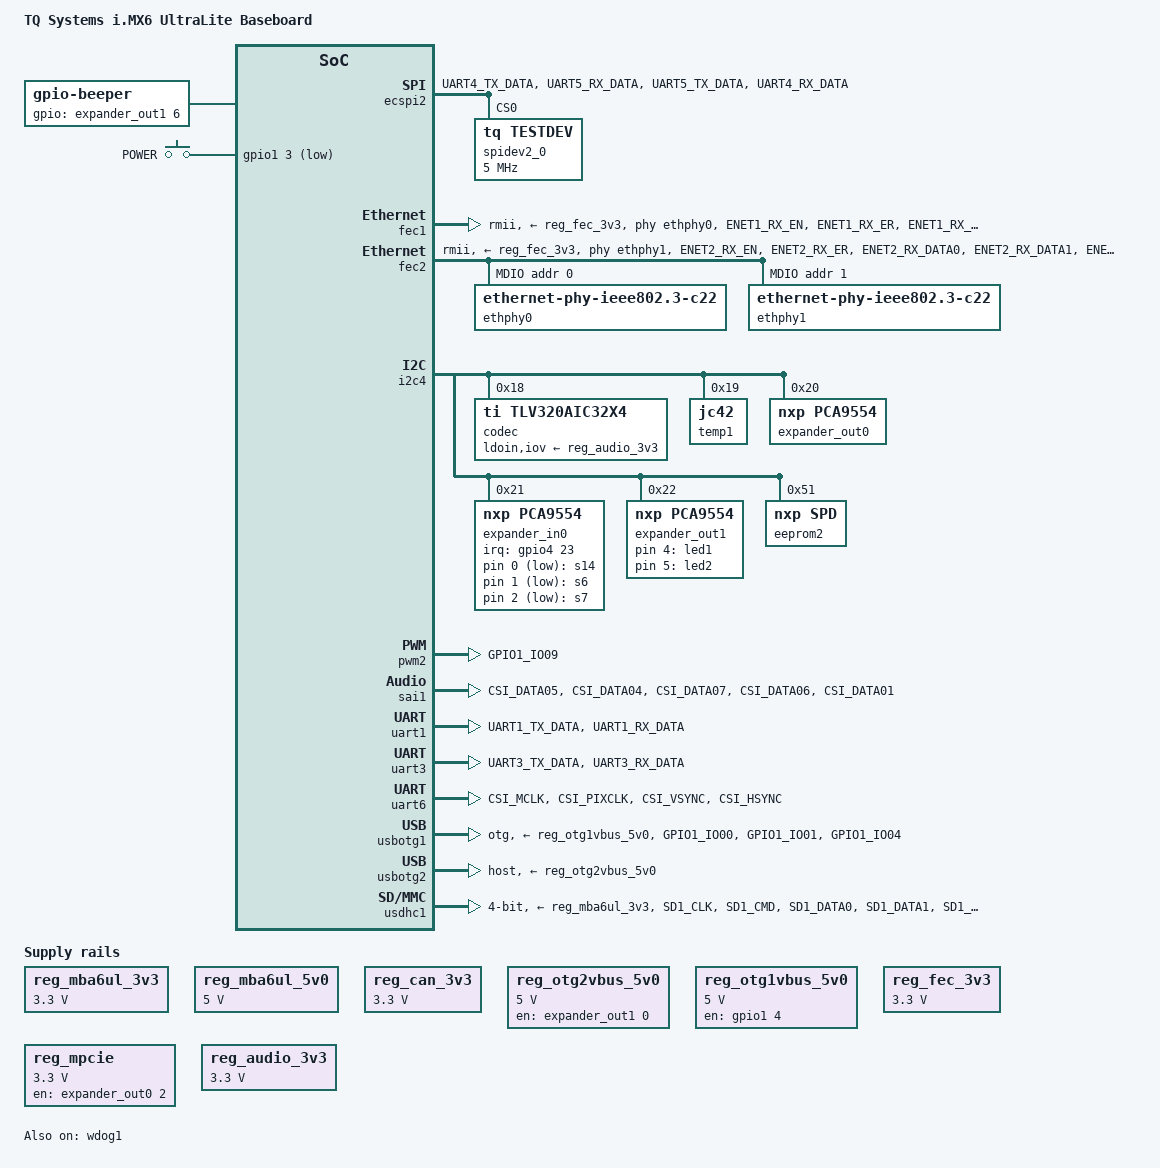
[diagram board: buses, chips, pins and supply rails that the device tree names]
/*
 * Copyright 2016 Marco Felsch, TQ Systems GmbH
 *
 * The code contained herein is licensed under the GNU General Public
 * License. You may obtain a copy of the GNU General Public License
 * Version 2 or later at the following locations:
 *
 * http://www.opensource.org/licenses/gpl-license.html
 * http://www.gnu.org/copyleft/gpl.html
 */

/ {
	model = "TQ Systems i.MX6 UltraLite Baseboard";

	aliases {
		mmc1 = &usdhc1;
		mmc0 = &usdhc2;
	};

	beeper: gpio_beeper {
		compatible = "gpio-beeper";
		gpios = <&expander_out1 6 GPIO_ACTIVE_HIGH>;
	};

	chosen {
		stdout-path = &uart1;
	};

	gpio_buttons: gpio_keys {
		compatible = "gpio-keys";
		#address-cells = <1>;
		#size-cells = <0>;
		pinctrl-names = "default";
		pinctrl-0 = <&pinctrl_buttons>;

		button@0 {
			label = "s14";
			linux,code = <KEY_1>;
			gpios = <&expander_in0 0 GPIO_ACTIVE_LOW>;
		};

		button@1 {
			label = "s6";
			linux,code = <KEY_2>;
			gpios = <&expander_in0 1 GPIO_ACTIVE_LOW>;
		};

		button@2 {
			label = "s7";
			linux,code = <KEY_3>;
			gpios = <&expander_in0 2 GPIO_ACTIVE_LOW>;
		};

		button@3 {
			label = "POWER";
			linux,code = <KEY_POWER>;
			gpios = <&gpio1 3 GPIO_ACTIVE_LOW>;
			gpio-key,wakeup;
		};
	};

	gpio-leds {
		compatible = "gpio-leds";
		status = "okay";

		led1 {
			label = "led1";
			gpios = <&expander_out1 4 GPIO_ACTIVE_HIGH>;
			linux,default-trigger = "default-on";
		};

		led2 {
			label = "led2";
			gpios = <&expander_out1 5 GPIO_ACTIVE_HIGH>;
			linux,default-trigger = "heartbeat";
		};
	};

	regulators {
		compatible = "simple-bus";
		#address-cells = <1>;
		#size-cells = <0>;

		reg_mba6ul_3v3: regulator@0 {
			compatible = "regulator-fixed";
			regulator-name = "supply-mba6ul-3v3";
			reg = <0>;
			regulator-min-microvolt = <3300000>;
			regulator-max-microvolt = <3300000>;
			regulator-always-on;
		};

		reg_mba6ul_5v0: regulator@1 {
			compatible = "regulator-fixed";
			regulator-name = "supply-mba6ul-5v0";
			reg = <1>;
			regulator-min-microvolt = <5000000>;
			regulator-max-microvolt = <5000000>;
			regulator-always-on;
		};

		reg_can_3v3: regulator@2 {
			compatible = "regulator-fixed";
			regulator-name = "can-3v3";
			reg = <2>;
			regulator-min-microvolt = <3300000>;
			regulator-max-microvolt = <3300000>;
			regulator-always-on;
			vin_supply = <&reg_mba6ul_3v3>;
		};

		reg_otg2vbus_5v0: regulator@3 {
			compatible = "regulator-fixed";
			reg = <3>;
			gpio = <&expander_out1 0 GPIO_ACTIVE_HIGH>;
			enable-active-high;
			regulator-name = "otg2-vbus-supply-5v0";
			regulator-min-microvolt = <5000000>;
			regulator-max-microvolt = <5000000>;
			vin_supply = <&reg_mba6ul_5v0>;
		};

		reg_otg1vbus_5v0: regulator@4 {
			compatible = "regulator-fixed";
			reg = <4>;
			gpio = <&gpio1 4 GPIO_ACTIVE_HIGH>;
			enable-active-high;
			regulator-name = "otg1-vbus-supply-5v0";
			regulator-min-microvolt = <5000000>;
			regulator-max-microvolt = <5000000>;
			vin_supply = <&reg_mba6ul_5v0>;
		};

		reg_fec_3v3: regulator@5 {
			compatible = "regulator-fixed";
			regulator-name = "fec-3v3";
			reg = <5>;
			regulator-min-microvolt = <3300000>;
			regulator-max-microvolt = <3300000>;
			regulator-always-on;
			vin_supply = <&reg_mba6ul_3v3>;
		};

		reg_lcd_pwr: regulator@6 {
			compatible = "regulator-fixed";
			regulator-name = "lcd-pwr";
			reg = <6>;
			gpio = <&expander_out0 1 GPIO_ACTIVE_HIGH>;
			enable-active-high;
			status = "disabled";
		};

		reg_lvds_transmitter: regulator@7 {
			compatible = "regulator-fixed";
			regulator-name = "lvds-power";
			reg = <7>;
			gpio = <&expander_out0 3 GPIO_ACTIVE_HIGH>;
			enable-active-high;
			regulator-always-on;
			vin_supply = <&reg_mba6ul_3v3>;
			status = "disabled";
		};

		reg_mpcie: regulator@8 {
			compatible = "regulator-fixed";
			regulator-name = "mpcie-3v3";
			reg = <8>;
			regulator-min-microvolt = <3300000>;
			regulator-max-microvolt = <3300000>;
			gpio = <&expander_out0 2 GPIO_ACTIVE_HIGH>;
			enable-active-high;
			regulator-always-on;
			vin_supply = <&reg_mba6ul_3v3>;
		};

		reg_audio_3v3: regulator@9 {
			compatible = "regulator-fixed";
			regulator-name = "VCC3V3_AUDIO";
			reg = <9>;
			regulator-min-microvolt = <3300000>;
			regulator-max-microvolt = <3300000>;
			regulator-always-on;
		};
	};

	reserved-memory {
		#address-cells = <1>;
		#size-cells = <1>;
		ranges;

		linux,cma {
			compatible = "shared-dma-pool";
			reusable;
			size = <0x6000000>;
			linux,cma-default;
		};
	};

	sound {
		compatible = "fsl,imx6ul-mba6ul-tlv320aic32x4",
			     "fsl,imx-audio-tlv320aic32x4";
		model = "imx6ul-mba6ul-tlv320aic32";
		ssi-controller = <&sai1>;
		audio-codec = <&codec>;
	};
};

&clks {
	assigned-clocks = <&clks IMX6UL_CLK_PLL4_AUDIO_DIV>;
	assigned-clock-rates = <768000000>;
};

&ecspi2 {
	pinctrl-names = "default";
	pinctrl-0 = <&pinctrl_ecspi2>;
	fsl,spi-num-chipselects = <1>;
	status = "okay";

	spidev2_0: spidev2-0@0 {
		compatible = "tq,testdev";
		spi-max-frequency = <5000000>;
		reg = <0>;
		status = "okay";
	};
};

&fec1 {
	pinctrl-names = "default";
	pinctrl-0 = <&pinctrl_enet1>;
	phy-mode = "rmii";
	phy-handle = <&ethphy0>;
	phy-supply = <&reg_fec_3v3>;
	phy-reset-gpios = <&expander_out1 1 GPIO_ACTIVE_LOW>;
	phy-reset-duration = <25>;
	phy-reset-post-delay = <1>;
	status = "okay";
};

&fec2 {
	pinctrl-names = "default";
	pinctrl-0 = <&pinctrl_enet2>, <&pinctrl_enet2_mdc>;
	phy-mode = "rmii";
	phy-handle = <&ethphy1>;
	phy-supply = <&reg_fec_3v3>;
	phy-reset-gpios = <&expander_out1 2 GPIO_ACTIVE_LOW>;
	phy-reset-duration = <25>;
	phy-reset-post-delay = <1>;
	status = "okay";

	mdio {
		#address-cells = <1>;
		#size-cells = <0>;

		ethphy0: ethernet-phy@0 {
			compatible = "ethernet-phy-ieee802.3-c22";
			max-speed = <100>;
/*
			interrupt-parent = <&expander_in0>;
			interrupts = <6 IRQ_TYPE_LEVEL_LOW>;
*/
			reg = <0>;
		};

		ethphy1: ethernet-phy@1 {
			compatible = "ethernet-phy-ieee802.3-c22";
			max-speed = <100>;
/*
			interrupt-parent = <&expander_in0>;
			interrupts = <7 IRQ_TYPE_LEVEL_LOW>;
*/
			reg = <1>;
		};
	};
};

&flash0 {
	uboot@0 {
		label = "U-Boot";
		reg = <0x0 0xd0000>;
	};

	env1@d0000 {
		label = "ENV1";
		reg = <0xd0000 0x10000>;
	};

	env2@e0000 {
		label = "ENV2";
		reg = <0xe0000 0x10000>;
	};

	dtb@f0000 {
		label = "DTB";
		reg = <0xf0000 0x10000>;
	};

	linux@100000 {
		label = "Linux";
		reg = <0x100000 0x700000>;
	};

	rootfs@800000 {
		label = "RootFS";
		reg = <0x800000 0x3800000>;
	};
};

/* Linux rel_imx-4.14.78_1.0.0_ga by NXP defines the
 * flexcan controller instances on CPUs i.MX6UL and i.MX6ULL
 * at their respective addresses 02090000 and 02094000
 * on two different paths. This forbids a common reference.
 * Moved CAN nodes to imx6ull-mba6ulx.dts / imx6ul-mba6ulx.dts.
 */

&i2c4 {
	codec: tlv320aic32x4@18 {
		compatible = "ti,tlv320aic32x4";
		reg = <0x18>;
		clocks = <&clks IMX6UL_CLK_SAI1>;
		clock-names = "mclk";
		ldoin-supply = <&reg_audio_3v3>;
		iov-supply = <&reg_audio_3v3>;
	};

	/*
	 * NXP SE97BTP with temperature sensor + eeprom
	 * ATTENTION: do not use correct dt compatible since this will conflict
	 * with hwmon sysfs ABI and break device registration
	 */
	temp1: jc42@19 {
		compatible = "jc42";
		reg = <0x19>;
		status = "okay";
	};

	/* Output-Portexpander */
	expander_out0: pca9554@20 {
		compatible = "nxp,pca9554";
		reg = <0x20>;
		/* Interrupt not connected (R410) */
		/* interrupt-parent = <&gpio4>; */
		/* interrupts = <24 IRQ_TYPE_LEVEL_LOW>; */
		/* interrupt-controller; */
		/* interrupt-cells = <2>; */
		gpio-controller;
		#gpio-cells = <2>;
		status = "okay";
	};

	/* Input-Portexpander */
	expander_in0: pca9554@21 {
		compatible = "nxp,pca9554";
		reg = <0x21>;
		pinctrl-names = "default";
		pinctrl-0 = <&pinctrl_expander_in0>;
		interrupt-parent = <&gpio4>;
		interrupts = <23 IRQ_TYPE_LEVEL_LOW>;
		interrupt-controller;
		#interrupt-cells = <2>;
		gpio-controller;
		#gpio-cells = <2>;
		status = "okay";
	};

	/* Input-Portexpander */
	expander_out1: pca9554@22 {
		compatible = "nxp,pca9554";
		reg = <0x22>;
		gpio-controller;
		#gpio-cells = <2>;
		status = "okay";
	};

	analog_touch: stmpe811@41 {
		compatible = "st,stmpe811";
		reg = <0x41>;
		interrupts = <21 IRQ_TYPE_EDGE_FALLING>;
		interrupt-parent = <&gpio4>;
		interrupt-controller;
		status = "disabled";

		stmpe_touchscreen {
			compatible = "st,stmpe-ts";
			st,adc-freq = <1>;      /* 3.25 MHz ADC clock speed */
			st,ave-ctrl = <3>;      /* 8 sample average control */
			st,fraction-z = <7>;    /* 7 length fractional part in z */
			/*
			 * 50 mA typical 80 mA max touchscreen drivers
			 * current limit value
			 */
			st,i-drive = <1>;
			st,mod-12b = <1>;       /* 12-bit ADC */
			st,ref-sel = <0>;       /* internal ADC reference */
			st,sample-time = <4>;   /* ADC converstion time: 80 clocks */
			st,settling = <3>;      /* 1 ms panel driver settling time */
			st,touch-det-delay = <5>; /* 5 ms touch detect interrupt delay */
		};
	};

	/* NXP SE97BTP with temperature sensor + eeprom */
	eeprom2: se97@51 {
		compatible = "nxp,spd";
		reg = <0x51>;
		pagesize = <16>;
		status = "okay";
	};
};

&iomuxc {
	imx6ul-mba6ul {
		pinctrl_buttons: buttonsgrp {
			fsl,pins = <
				MX6UL_PAD_GPIO1_IO03__GPIO1_IO03	0x100b0
			>;
		};

		pinctrl_ecspi2: ecspi2grp {
			fsl,pins = <
				MX6UL_PAD_UART4_TX_DATA__ECSPI2_SCLK	0x1b020
				MX6UL_PAD_UART5_RX_DATA__ECSPI2_MISO	0x1b020
				MX6UL_PAD_UART5_TX_DATA__ECSPI2_MOSI	0x1b020
				MX6UL_PAD_UART4_RX_DATA__ECSPI2_SS0	0x1b020
			>;
		};

		pinctrl_enet1: enet1grp {
			fsl,pins = <
				MX6UL_PAD_ENET1_RX_EN__ENET1_RX_EN	0x1b0b0
				MX6UL_PAD_ENET1_RX_ER__ENET1_RX_ER	0x1b0b0
				MX6UL_PAD_ENET1_RX_DATA0__ENET1_RDATA00	0x1b0b0
				MX6UL_PAD_ENET1_RX_DATA1__ENET1_RDATA01	0x1b0b0
				MX6UL_PAD_ENET1_TX_DATA0__ENET1_TDATA00	0x1b0b0
				MX6UL_PAD_ENET1_TX_DATA1__ENET1_TDATA01	0x1b0b0
				MX6UL_PAD_ENET1_TX_EN__ENET1_TX_EN	0x1b0b0
				MX6UL_PAD_ENET1_TX_CLK__ENET1_REF_CLK1	0x4001b0a8
			>;
		};

		pinctrl_enet2: enet2grp {
			fsl,pins = <
				MX6UL_PAD_ENET2_RX_EN__ENET2_RX_EN	0x1b0b0
				MX6UL_PAD_ENET2_RX_ER__ENET2_RX_ER	0x1b0b0
				MX6UL_PAD_ENET2_RX_DATA0__ENET2_RDATA00	0x1b0b0
				MX6UL_PAD_ENET2_RX_DATA1__ENET2_RDATA01	0x1b0b0
				MX6UL_PAD_ENET2_TX_DATA0__ENET2_TDATA00	0x1b0a0
				MX6UL_PAD_ENET2_TX_DATA1__ENET2_TDATA01	0x1b0a0
				MX6UL_PAD_ENET2_TX_EN__ENET2_TX_EN	0x1b0b0
				MX6UL_PAD_ENET2_TX_CLK__ENET2_REF_CLK2	0x4001b0a8
			>;
		};

		pinctrl_enet2_mdc: enet2mdcgrp {
			fsl,pins = <
				/* mdio */
				MX6UL_PAD_GPIO1_IO07__ENET2_MDC		0x1b0b0
				MX6UL_PAD_GPIO1_IO06__ENET2_MDIO	0x1b0b0
			>;
		};

		pinctrl_expander_in0: expanderin0grp {
			fsl,pins = <
				MX6UL_PAD_CSI_DATA02__GPIO4_IO23	0x1b0b1
			>;
		};

		pinctrl_flexcan1: flexcan1grp {
			fsl,pins = <
				MX6UL_PAD_UART3_RTS_B__FLEXCAN1_RX	0x1b020
				MX6UL_PAD_UART3_CTS_B__FLEXCAN1_TX	0x1b020
			>;
		};

		pinctrl_flexcan2: flexcan2grp {
			fsl,pins = <
				MX6UL_PAD_UART2_RTS_B__FLEXCAN2_RX	0x1b020
				MX6UL_PAD_UART2_CTS_B__FLEXCAN2_TX	0x1b020
			>;
		};

		pinctrl_pwm2: pwm2grp {
			fsl,pins = <
				/* 100 k PD, DSE 120 OHM, SPPEED LO */
				MX6UL_PAD_GPIO1_IO09__PWM2_OUT		0x00003050
			>;
		};

		pinctrl_sai1: sai1grp {
			fsl,pins = <
				MX6UL_PAD_CSI_DATA05__SAI1_TX_BCLK	0x1b0b1
				MX6UL_PAD_CSI_DATA04__SAI1_TX_SYNC	0x1b0b1
				MX6UL_PAD_CSI_DATA07__SAI1_TX_DATA	0x1f0b8
				MX6UL_PAD_CSI_DATA06__SAI1_RX_DATA	0x110b0
				MX6UL_PAD_CSI_DATA01__SAI1_MCLK		0x1b0b1
			>;
		};

		pinctrl_uart1: uart1grp {
			fsl,pins = <
				MX6UL_PAD_UART1_TX_DATA__UART1_DCE_TX	0x1b0b1
				MX6UL_PAD_UART1_RX_DATA__UART1_DCE_RX	0x1b0b1
			>;
		};

		pinctrl_uart3: uart3grp {
			fsl,pins = <
				MX6UL_PAD_UART3_TX_DATA__UART3_DCE_TX	0x1b0b1
				MX6UL_PAD_UART3_RX_DATA__UART3_DCE_RX	0x1b0b1
			>;
		};

		pinctrl_uart6: uart6grp {
			fsl,pins = <
				MX6UL_PAD_CSI_MCLK__UART6_DCE_TX	0x1b0b1
				MX6UL_PAD_CSI_PIXCLK__UART6_DCE_RX	0x1b0b1
				MX6UL_PAD_CSI_VSYNC__UART6_DCE_RTS	0x1b0b1
				MX6UL_PAD_CSI_HSYNC__UART6_DCE_CTS	0x1b0b1
			>;
		};

		pinctrl_uart6dte: uart6dte {
			fsl,pins = <
				MX6UL_PAD_CSI_PIXCLK__UART6_DTE_TX	0x1b0b1
				MX6UL_PAD_CSI_MCLK__UART6_DTE_RX	0x1b0b1
				MX6UL_PAD_CSI_HSYNC__UART6_DTE_RTS	0x1b0b1
				MX6UL_PAD_CSI_VSYNC__UART6_DTE_CTS	0x1b0b1
			>;
		};

		pinctrl_usb_otg1: usbotg1grp {
			fsl,pins = <
				MX6UL_PAD_GPIO1_IO00__ANATOP_OTG1_ID	0x00017059
				MX6UL_PAD_GPIO1_IO01__USB_OTG1_OC	0x0001b0b0
				/* PWR */
				MX6UL_PAD_GPIO1_IO04__GPIO1_IO04	0x0001b099
			>;
		};

		pinctrl_usdhc1: usdhc1grp {
			fsl,pins = <
				MX6UL_PAD_SD1_CLK__USDHC1_CLK		0x00017069
				MX6UL_PAD_SD1_CMD__USDHC1_CMD		0x00017059
				MX6UL_PAD_SD1_DATA0__USDHC1_DATA0	0x00017059
				MX6UL_PAD_SD1_DATA1__USDHC1_DATA1	0x00017059
				MX6UL_PAD_SD1_DATA2__USDHC1_DATA2	0x00017059
				MX6UL_PAD_SD1_DATA3__USDHC1_DATA3	0x00017059
				/* WP */
				MX6UL_PAD_UART1_CTS_B__GPIO1_IO18	0x0001b099
				/* CD */
				MX6UL_PAD_UART1_RTS_B__GPIO1_IO19	0x0001b099
			>;
		};

		pinctrl_usdhc1_100mhz: usdhc1grp100mhz {
			fsl,pins = <
				MX6UL_PAD_SD1_CLK__USDHC1_CLK		0x00017069
				MX6UL_PAD_SD1_CMD__USDHC1_CMD		0x000170b9
				MX6UL_PAD_SD1_DATA0__USDHC1_DATA0	0x000170b9
				MX6UL_PAD_SD1_DATA1__USDHC1_DATA1	0x000170b9
				MX6UL_PAD_SD1_DATA2__USDHC1_DATA2	0x000170b9
				MX6UL_PAD_SD1_DATA3__USDHC1_DATA3	0x000170b9
				/* WP */
				MX6UL_PAD_UART1_CTS_B__GPIO1_IO18	0x0001b099
				/* CD */
				MX6UL_PAD_UART1_RTS_B__GPIO1_IO19	0x0001b099
			>;
		};

		pinctrl_usdhc1_200mhz: usdhc1grp200mhz {
			fsl,pins = <
				MX6UL_PAD_SD1_CLK__USDHC1_CLK		0x00017069
				MX6UL_PAD_SD1_CMD__USDHC1_CMD		0x000170f9
				MX6UL_PAD_SD1_DATA0__USDHC1_DATA0	0x000170f9
				MX6UL_PAD_SD1_DATA1__USDHC1_DATA1	0x000170f9
				MX6UL_PAD_SD1_DATA2__USDHC1_DATA2	0x000170f9
				MX6UL_PAD_SD1_DATA3__USDHC1_DATA3	0x000170f9
				/* WP */
				MX6UL_PAD_UART1_CTS_B__GPIO1_IO18	0x0001b099
				/* CD */
				MX6UL_PAD_UART1_RTS_B__GPIO1_IO19	0x0001b099
			>;
		};

		pinctrl_wdog1: wdog1grp {
			fsl,pins = <
				MX6UL_PAD_GPIO1_IO08__WDOG1_WDOG_B	0x0001b099
			>;
		};
	};
};

&pwm2 {
	pinctrl-names = "default";
	pinctrl-0 = <&pinctrl_pwm2>;
	clocks = <&clks IMX6UL_CLK_PWM2>,
		 <&clks IMX6UL_CLK_PWM2>;
	clock-names = "ipg", "per";
	status = "okay";
};

&sai1 {
	pinctrl-names = "default";
	pinctrl-0 = <&pinctrl_sai1>;
	assigned-clocks = <&clks IMX6UL_CLK_SAI1_SEL>,
			  <&clks IMX6UL_CLK_SAI1>;
	assigned-clock-parents = <&clks IMX6UL_CLK_PLL4_AUDIO_DIV>;
	assigned-clock-rates = <0>, <24000000>;
	fsl,sai-mclk-direction-output;
	status = "okay";
};

&uart1 {
	pinctrl-names = "default";
	pinctrl-0 = <&pinctrl_uart1>;
	status = "okay";
};

&uart3 {
	pinctrl-names = "default";
	pinctrl-0 = <&pinctrl_uart3>;
	status = "okay";
};

&uart6 {
	pinctrl-names = "default";
	pinctrl-0 = <&pinctrl_uart6>;
	fsl,uart-has-rtscts;
	/* for DTE mode, add below change */
	/* fsl,dte-mode; */
	/* pinctrl-0 = <&pinctrl_uart6dte>; */
	status = "okay";
};

/* otg-port */
&usbotg1 {
	pinctrl-names = "default";
	pinctrl-0 = <&pinctrl_usb_otg1>;
	vbus-supply = <&reg_otg1vbus_5v0>;
	dr_mode = "otg";
	status = "okay";
};

/* 7-port usb hub */
/* id, pwr, oc pins not connected */
&usbotg2 {
	disable-over-current;
	vbus-supply = <&reg_otg2vbus_5v0>;
	dr_mode = "host";
	status = "okay";
};

&usdhc1 {
	pinctrl-names = "default";
	pinctrl-0 = <&pinctrl_usdhc1>;
	cd-gpios = <&gpio1 19 GPIO_ACTIVE_LOW>;
	wp-gpios = <&gpio1 18 GPIO_ACTIVE_HIGH>;
	bus-width = <4>;
	vmmc-supply = <&reg_mba6ul_3v3>;
	vqmmc-supply = <&reg_vccsd>;
	no-1-8-v;
	status = "okay";
};

&wdog1 {
	pinctrl-names = "default";
	pinctrl-0 = <&pinctrl_wdog1>;
	fsl,wdog_b;
	status = "okay";
};
